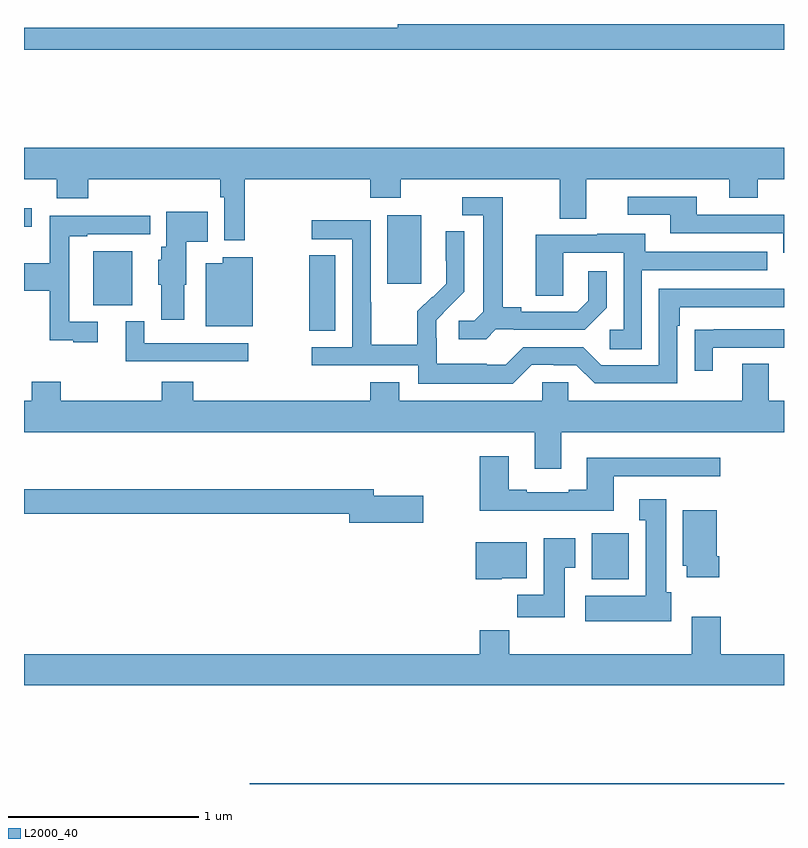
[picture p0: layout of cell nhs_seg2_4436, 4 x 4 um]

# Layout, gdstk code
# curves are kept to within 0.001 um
import gdstk
lib = gdstk.Library(unit=1e-6, precision=1e-09)
def R(c, l, rs):  # rectangles x0, y0, x1, y1
    for r in rs: c.add(gdstk.rectangle(r[:2], r[2:], *l))
def P(c, l, *ps):  # polygons
    for p in ps: c.add(gdstk.Polygon(p, *l))
L2000_40 = (2000, 40)

nhs_seg2_4436 = lib.new_cell('nhs_seg2_4436')
R(nhs_seg2_4436, L2000_40, [(352.187,629.8,355,629.804), (353.987,630.878,354.184,631.12), (352.501,632.185,352.639,632.582), (351.365,632.321,351.571,632.605), (352.913,632.433,353.092,632.794), (351,632.732,351.04,632.83)])
P(nhs_seg2_4436, L2000_40, [(355,633.8),(352.966,633.8),(352.966,633.78),(351,633.78),(351,633.664),(355,633.664)],
  [(352.162,632.984),(352.823,632.984),(352.823,632.885),(352.983,632.885),(352.983,632.984),(353.819,632.984),(353.819,632.776),(353.959,632.776),(353.959,632.984),(354.713,632.984),(354.713,632.885),(354.861,632.885),(354.861,632.984),(355,632.984),(355,633.148),(351,633.148),(351,632.984),(351.173,632.984),(351.173,632.882),(351.338,632.882),(351.338,632.984),(352.033,632.984),(352.033,632.888),(352.053,632.888),(352.053,632.661),(352.162,632.661)],
  [(355,632.796),(354.541,632.796),(354.541,632.892),(354.177,632.892),(354.177,632.796),(354.401,632.796),(354.401,632.7),(354.996,632.7),(354.996,632.597),(355,632.597)],
  [(353.484,632.193),(353.578,632.193),(353.578,632.19),(353.95,632.19),(354.066,632.306),(354.066,632.5),(353.969,632.5),(353.969,632.343),(353.912,632.286),(353.617,632.286),(353.617,632.309),(353.521,632.309),(353.521,632.889),(353.307,632.889),(353.307,632.793),(353.417,632.793),(353.417,632.285),(353.37,632.238),(353.289,632.238),(353.289,632.141),(353.432,632.141)],
  [(351.844,632.427),(351.853,632.427),(351.853,632.654),(351.968,632.654),(351.968,632.812),(351.749,632.812),(351.749,632.628),(351.722,632.628),(351.722,632.559),(351.707,632.559),(351.707,632.427),(351.722,632.427),(351.722,632.244),(351.844,632.244)],
  [(351.388,632.232),(351.237,632.232),(351.237,632.682),(351.334,632.682),(351.334,632.694),(351.664,632.694),(351.664,632.792),(351.421,632.792),(351.421,632.79),(351.136,632.79),(351.136,632.542),(351,632.542),(351,632.395),(351.136,632.395),(351.136,632.135),(351.26,632.135),(351.26,632.124),(351.388,632.124)],
  [(353.673,632.007),(353.789,632.007),(353.789,632.004),(353.907,632.004),(354.003,631.908),(354.438,631.908),(354.438,632.213),(354.451,632.213),(354.451,632.31),(355,632.31),(355,632.406),(354.342,632.406),(354.342,632.004),(354.039,632.004),(353.943,632.1),(353.628,632.1),(353.535,632.007),(353.435,632.007),(353.435,632.011),(353.172,632.011),(353.172,632.145),(353.17,632.145),(353.17,632.242),(353.316,632.39),(353.316,632.708),(353.22,632.708),(353.22,632.554),(353.222,632.554),(353.222,632.432),(353.151,632.361),(353.148,632.364),(353.071,632.287),(353.071,632.113),(352.827,632.113),(352.827,632.336),(352.824,632.336),(352.824,632.766),(352.515,632.766),(352.515,632.667),(352.728,632.667),(352.728,632.1),(352.515,632.1),(352.515,632.004),(353.076,632.004),(353.076,631.907),(353.573,631.907)],
  [(354.252,632.505),(354.911,632.505),(354.911,632.601),(354.271,632.601),(354.271,632.695),(354.017,632.695),(354.017,632.691),(353.693,632.691),(353.693,632.371),(353.838,632.371),(353.838,632.595),(354.156,632.595),(354.156,632.19),(354.084,632.19),(354.084,632.089),(354.252,632.089)],
  [(352.204,632.572),(352.046,632.572),(352.046,632.542),(351.956,632.542),(351.956,632.21),(352.204,632.21)],
  [(352.18,632.121),(351.633,632.121),(351.633,632.236),(351.536,632.236),(351.536,632.025),(352.18,632.025)],
  [(354.625,632.097),(355,632.097),(355,632.193),(354.631,632.193),(354.631,632.192),(354.529,632.192),(354.529,631.974),(354.625,631.974)],
  [(353.827,631.652),(355,631.652),(355,631.816),(354.919,631.816),(354.919,632.011),(354.779,632.011),(354.779,631.816),(353.865,631.816),(353.865,631.914),(353.727,631.914),(353.727,631.816),(352.975,631.816),(352.975,631.915),(352.823,631.915),(352.823,631.816),(351.89,631.816),(351.89,631.918),(351.725,631.918),(351.725,631.816),(351.194,631.816),(351.194,631.918),(351.041,631.918),(351.041,631.816),(351,631.816),(351,631.652),(353.687,631.652),(353.687,631.458),(353.827,631.458)],
  [(354.103,631.419),(354.664,631.419),(354.664,631.516),(353.963,631.516),(353.963,631.348),(353.867,631.348),(353.867,631.335),(353.647,631.335),(353.647,631.348),(353.551,631.348),(353.551,631.525),(353.399,631.525),(353.399,631.238),(354.103,631.238)],
  [(353.101,631.317),(352.84,631.317),(352.84,631.351),(351,631.351),(351,631.222),(352.712,631.222),(352.712,631.175),(353.101,631.175)],
  [(354.406,630.81),(354.379,630.81),(354.379,631.3),(354.239,631.3),(354.239,631.187),(354.272,631.187),(354.272,630.79),(353.955,630.79),(353.955,630.656),(354.406,630.656)],
  [(354.659,631),(354.646,631),(354.646,631.24),(354.467,631.24),(354.467,630.948),(354.488,630.948),(354.488,630.888),(354.659,630.888)],
  [(353.845,630.937),(353.902,630.937),(353.902,631.093),(353.735,631.093),(353.735,630.796),(353.596,630.796),(353.596,630.678),(353.845,630.678)],
  [(353.514,630.884),(353.647,630.884),(353.647,631.072),(353.378,631.072),(353.378,630.878),(353.514,630.878)],
  [(355,630.484),(354.668,630.484),(354.668,630.679),(354.515,630.679),(354.515,630.484),(353.555,630.484),(353.555,630.608),(353.399,630.608),(353.399,630.484),(351,630.484),(351,630.32),(355,630.32)])

lib.write_gds('nhs_seg2_4436.gds')
